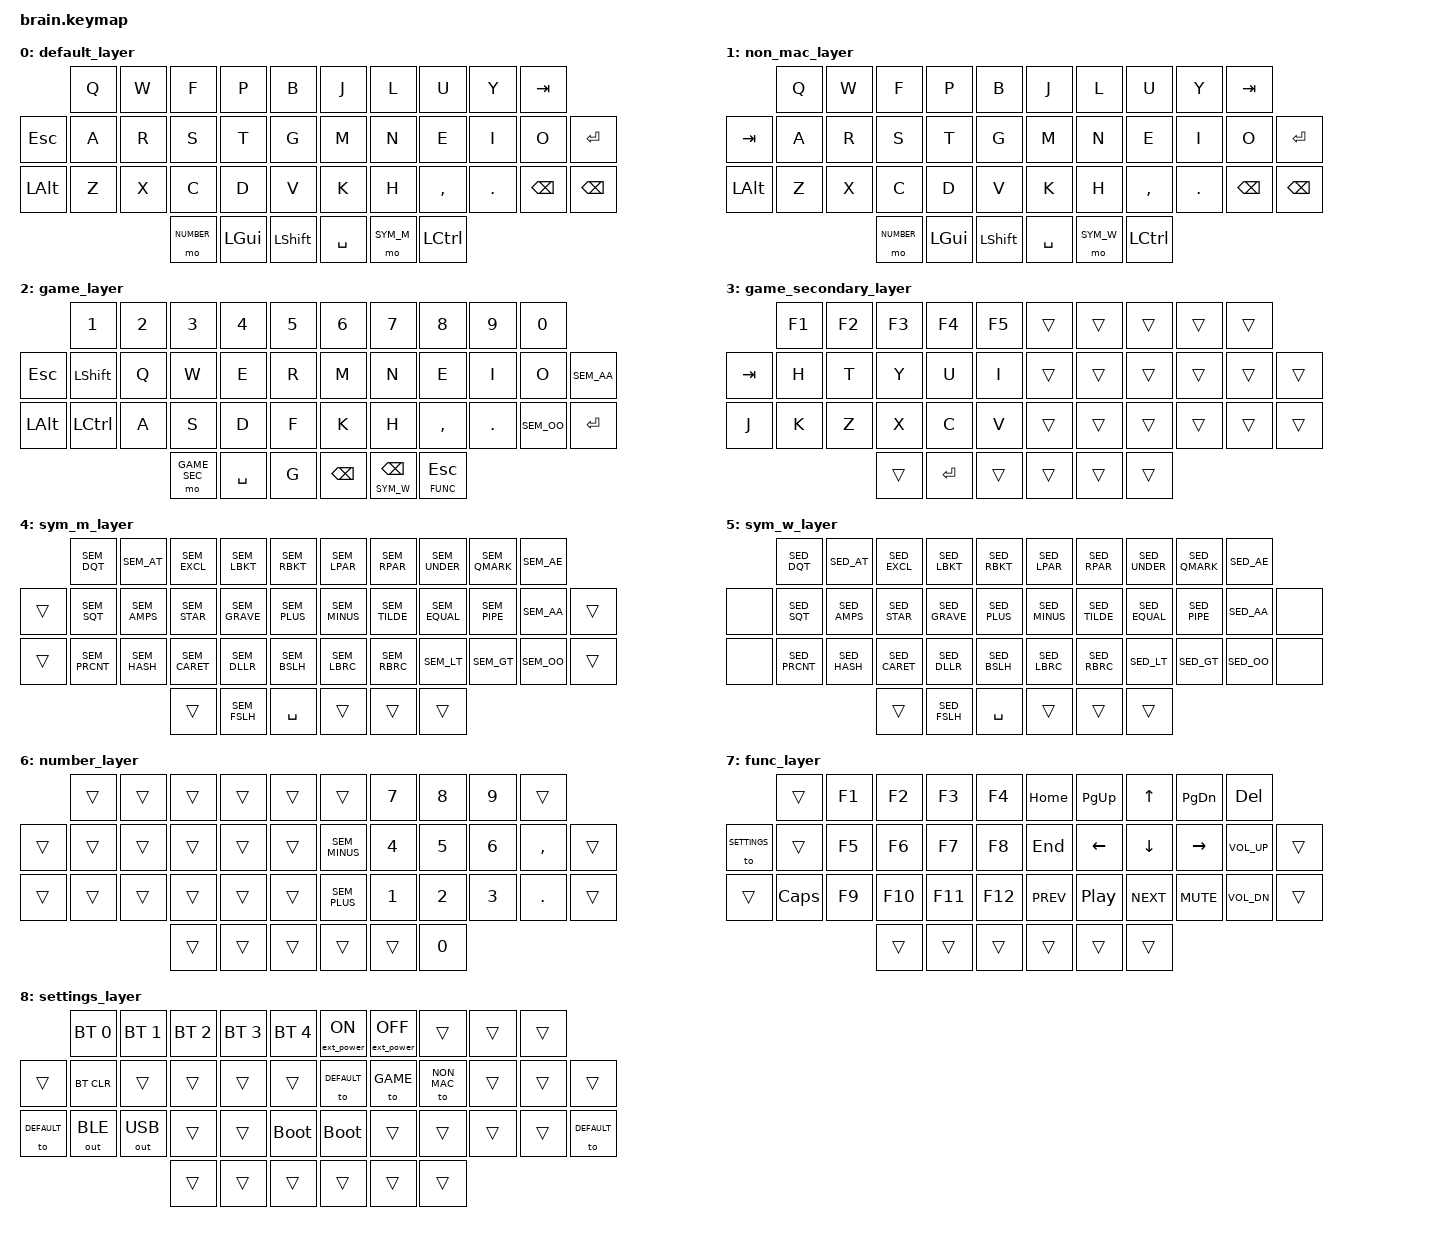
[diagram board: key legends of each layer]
/*
 * Copyright (c) 2020 The ZMK Contributors
 *
 * SPDX-License-Identifier: MIT
 */

#include <behaviors.dtsi>
#include <dt-bindings/zmk/keys.h>
#include <dt-bindings/zmk/bt.h>
#include <dt-bindings/zmk/outputs.h>
#include <dt-bindings/zmk/ext_power.h>
#include "swe_keys_default.h"
#include "swe_keys_mac.h"

#define DEFAULT       0
#define NON_MAC       1
#define GAME          2
#define GAME_SEC      3
#define SYM_M         4
#define SYM_W         5
#define NUMBER        6
#define FUNC          7
#define SETTINGS      8


/*           40 Keys
╭─────────────────╮ ╭─────────────────╮
│    0  1  2  3  4│ │ 5  6  7  8  9   │
│10 11 12 13 14 15│ │16 17 18 19 20 21│
│22 23 24 25 26 27│ │28 29 30 31 32 33│
╰────────╮34 35 36│ │37 38 39╭────────╯
         ╰────────╯ ╰────────╯       */

/ {
    cond_layers {
        compatible = "zmk,conditional-layers";
        func_tristate_mac {
            if-layers = <SYM_M NUMBER>;
            then-layer = <FUNC>;
        };
        func_tristate {
            if-layers = <SYM_W NUMBER>;
            then-layer = <FUNC>;
        };
    };


    keymap {
        compatible = "zmk,keymap";

        default_layer {
            bindings = <
   //                  ╭────────────────┬────────────────┬────────────────┬────────────────┬────────────────╮   ╭────────────────┬────────────────┬────────────────┬────────────────┬────────────────╮
                        &kp Q            &kp W            &kp F            &kp P            &kp B                &kp J            &kp L            &kp U            &kp Y            &kp TAB
   // ╭────────────────┼────────────────┼────────────────┼────────────────┼────────────────┼────────────────┤   ├────────────────┼────────────────┼────────────────┼────────────────┼────────────────┼────────────────╮
       &kp ESC          &kp A            &kp R            &kp S            &kp T            &kp G                &kp M            &kp N            &kp E            &kp I            &kp O            &kp ENTER
   // ├────────────────┼────────────────┼────────────────┼────────────────┼────────────────┼────────────────┤   ├────────────────┼────────────────┼────────────────┼────────────────┼────────────────┼────────────────┤
       &kp LALT         &kp Z            &kp X            &kp C            &kp D            &kp V                &kp K            &kp H            &kp COMMA        &kp DOT          &kp BSPC         &kp BSPC
   // ╰────────────────┼────────────────┼────────────────┼────────────────┼────────────────┼────────────────┤   ├────────────────┼────────────────┼────────────────┼────────────────┼────────────────┼────────────────╯
                                                          &mo NUMBER       &kp LGUI         &kp LSHIFT           &kp SPACE        &mo SYM_M        &kp LCTRL
   //                                                    ╰────────────────┴────────────────┴────────────────╯   ╰────────────────┴────────────────┴────────────────╯
            >;
        };

        non_mac_layer {
            bindings = <
   //                  ╭────────────────┬────────────────┬────────────────┬────────────────┬────────────────╮   ╭────────────────┬────────────────┬────────────────┬────────────────┬────────────────╮
                        &kp Q            &kp W            &kp F            &kp P            &kp B                &kp J            &kp L            &kp U            &kp Y            &kp TAB
   // ╭────────────────┼────────────────┼────────────────┼────────────────┼────────────────┼────────────────┤   ├────────────────┼────────────────┼────────────────┼────────────────┼────────────────┼────────────────╮
       &kp TAB          &kp A            &kp R            &kp S            &kp T            &kp G                &kp M            &kp N            &kp E            &kp I            &kp O            &kp ENTER
   // ├────────────────┼────────────────┼────────────────┼────────────────┼────────────────┼────────────────┤   ├────────────────┼────────────────┼────────────────┼────────────────┼────────────────┼────────────────┤
       &kp LALT         &kp Z            &kp X            &kp C            &kp D            &kp V                &kp K            &kp H            &kp COMMA        &kp DOT          &kp BSPC         &kp BSPC
   // ╰────────────────┼────────────────┼────────────────┼────────────────┼────────────────┼────────────────┤   ├────────────────┼────────────────┼────────────────┼────────────────┼────────────────┼────────────────╯
                                                          &mo NUMBER       &kp LGUI         &kp LSHIFT           &kp SPACE        &mo SYM_W        &kp LCTRL
   //                                                    ╰────────────────┴────────────────┴────────────────╯   ╰────────────────┴────────────────┴────────────────╯
            >;
        };

        game_layer {
            bindings = <
   //                  ╭────────────────┬────────────────┬────────────────┬────────────────┬────────────────╮   ╭────────────────┬────────────────┬────────────────┬────────────────┬────────────────╮
                        &kp N1           &kp N2           &kp N3           &kp N4           &kp N5               &kp N6           &kp N7           &kp N8           &kp N9           &kp N0
   // ╭────────────────┼────────────────┼────────────────┼────────────────┼────────────────┼────────────────┤   ├────────────────┼────────────────┼────────────────┼────────────────┼────────────────┼────────────────╮
       &kp ESC          &kp LSHIFT       &kp Q            &kp W            &kp E            &kp R                &kp M            &kp N            &kp E            &kp I            &kp O            &kp SEM_AA
   // ├────────────────┼────────────────┼────────────────┼────────────────┼────────────────┼────────────────┤   ├────────────────┼────────────────┼────────────────┼────────────────┼────────────────┼────────────────┤
       &kp LALT         &kp LCTRL        &kp A            &kp S            &kp D            &kp F                &kp K            &kp H            &kp COMMA        &kp DOT          &kp SEM_OO       &kp ENTER
   // ╰────────────────┼────────────────┼────────────────┼────────────────┼────────────────┼────────────────┤   ├────────────────┼────────────────┼────────────────┼────────────────┼────────────────┼────────────────╯
                                                          &mo GAME_SEC     &kp SPACE        &kp G                &kp BSPC         &lt SYM_W BSPC   &lt FUNC ESC
   //                                                    ╰────────────────┴────────────────┴────────────────╯   ╰────────────────┴────────────────┴────────────────╯
            >;
        };

        game_secondary_layer {
            bindings = <
   //                  ╭────────────────┬────────────────┬────────────────┬────────────────┬────────────────╮   ╭────────────────┬────────────────┬────────────────┬────────────────┬────────────────╮
                        &kp F1           &kp F2           &kp F3           &kp F4           &kp F5               &trans           &trans           &trans           &trans           &trans
   // ╭────────────────┼────────────────┼────────────────┼────────────────┼────────────────┼────────────────┤   ├────────────────┼────────────────┼────────────────┼────────────────┼────────────────┼────────────────╮
       &kp TAB          &kp H            &kp T            &kp Y            &kp U            &kp I                &trans           &trans           &trans           &trans           &trans           &trans
   // ├────────────────┼────────────────┼────────────────┼────────────────┼────────────────┼────────────────┤   ├────────────────┼────────────────┼────────────────┼────────────────┼────────────────┼────────────────┤
       &kp J            &kp K            &kp Z            &kp X            &kp C            &kp V                &trans           &trans           &trans           &trans           &trans           &trans
   // ╰────────────────┼────────────────┼────────────────┼────────────────┼────────────────┼────────────────┤   ├────────────────┼────────────────┼────────────────┼────────────────┼────────────────┼────────────────╯
                                                          &trans           &kp ENTER        &trans               &trans           &trans           &trans
   //                                                    ╰────────────────┴────────────────┴────────────────╯   ╰────────────────┴────────────────┴────────────────╯
            >;
        };

        sym_m_layer {
            bindings = <
   //                  ╭────────────────┬────────────────┬────────────────┬────────────────┬────────────────╮   ╭────────────────┬────────────────┬────────────────┬────────────────┬────────────────╮
                        &kp SEM_DQT      &kp SEM_AT       &kp SEM_EXCL     &kp SEM_LBKT     &kp SEM_RBKT         &kp SEM_LPAR     &kp SEM_RPAR     &kp SEM_UNDER    &kp SEM_QMARK    &kp SEM_AE
   // ╭────────────────┼────────────────┼────────────────┼────────────────┼────────────────┼────────────────┤   ├────────────────┼────────────────┼────────────────┼────────────────┼────────────────┼────────────────╮
       &trans           &kp SEM_SQT      &kp SEM_AMPS     &kp SEM_STAR     &kp SEM_GRAVE    &kp SEM_PLUS         &kp SEM_MINUS    &kp SEM_TILDE    &kp SEM_EQUAL    &kp SEM_PIPE     &kp SEM_AA       &trans
   // ├────────────────┼────────────────┼────────────────┼────────────────┼────────────────┼────────────────┤   ├────────────────┼────────────────┼────────────────┼────────────────┼────────────────┼────────────────┤
       &trans           &kp SEM_PRCNT    &kp SEM_HASH     &kp SEM_CARET    &kp SEM_DLLR     &kp SEM_BSLH         &kp SEM_LBRC     &kp SEM_RBRC     &kp SEM_LT       &kp SEM_GT       &kp SEM_OO       &trans
   // ╰────────────────┼────────────────┼────────────────┼────────────────┼────────────────┼────────────────┤   ├────────────────┼────────────────┼────────────────┼────────────────┼────────────────┼────────────────╯
                                                          &trans           &kp SEM_FSLH     &kp SPACE            &trans           &trans           &trans
   //                                                    ╰────────────────┴────────────────┴────────────────╯   ╰────────────────┴────────────────┴────────────────╯
            >;
        };

        sym_w_layer {
            bindings = <
   //                  ╭────────────────┬────────────────┬────────────────┬────────────────┬────────────────╮   ╭────────────────┬────────────────┬────────────────┬────────────────┬────────────────╮
                        &kp SED_DQT      &kp SED_AT       &kp SED_EXCL     &kp SED_LBKT     &kp SED_RBKT         &kp SED_LPAR     &kp SED_RPAR     &kp SED_UNDER    &kp SED_QMARK    &kp SED_AE
   // ╭────────────────┼────────────────┼────────────────┼────────────────┼────────────────┼────────────────┤   ├────────────────┼────────────────┼────────────────┼────────────────┼────────────────┼────────────────╮
       &none            &kp SED_SQT      &kp SED_AMPS     &kp SED_STAR     &kp SED_GRAVE    &kp SED_PLUS         &kp SED_MINUS    &kp SED_TILDE    &kp SED_EQUAL    &kp SED_PIPE     &kp SED_AA       &none
   // ├────────────────┼────────────────┼────────────────┼────────────────┼────────────────┼────────────────┤   ├────────────────┼────────────────┼────────────────┼────────────────┼────────────────┼────────────────┤
       &none            &kp SED_PRCNT    &kp SED_HASH     &kp SED_CARET    &kp SED_DLLR     &kp SED_BSLH         &kp SED_LBRC     &kp SED_RBRC     &kp SED_LT       &kp SED_GT       &kp SED_OO       &none
   // ╰────────────────┼────────────────┼────────────────┼────────────────┼────────────────┼────────────────┤   ├────────────────┼────────────────┼────────────────┼────────────────┼────────────────┼────────────────╯
                                                          &trans           &kp SED_FSLH     &kp SPACE            &trans           &trans           &trans
   //                                                    ╰────────────────┴────────────────┴────────────────╯   ╰────────────────┴────────────────┴────────────────╯
            >;
        };

        number_layer {
            bindings = <
   //                  ╭────────────────┬────────────────┬────────────────┬────────────────┬────────────────╮   ╭────────────────┬────────────────┬────────────────┬────────────────┬────────────────╮
                        &trans           &trans           &trans           &trans           &trans               &trans           &kp N7           &kp N8           &kp N9           &trans
   // ╭────────────────┼────────────────┼────────────────┼────────────────┼────────────────┼────────────────┤   ├────────────────┼────────────────┼────────────────┼────────────────┼────────────────┼────────────────╮
       &trans           &trans           &trans           &trans           &trans           &trans               &kp SEM_MINUS    &kp N4           &kp N5           &kp N6           &kp COMMA        &trans
   // ├────────────────┼────────────────┼────────────────┼────────────────┼────────────────┼────────────────┤   ├────────────────┼────────────────┼────────────────┼────────────────┼────────────────┼────────────────┤
       &trans           &trans           &trans           &trans           &trans           &trans               &kp SEM_PLUS     &kp N1           &kp N2           &kp N3           &kp DOT          &trans
   // ╰────────────────┼────────────────┼────────────────┼────────────────┼────────────────┼────────────────┤   ├────────────────┼────────────────┼────────────────┼────────────────┼────────────────┼────────────────╯
                                                          &trans           &trans           &trans               &trans           &trans           &kp N0
   //                                                    ╰────────────────┴────────────────┴────────────────╯   ╰────────────────┴────────────────┴────────────────╯
            >;
        };

        func_layer {
            bindings = <
   //                  ╭────────────────┬────────────────┬────────────────┬────────────────┬────────────────╮   ╭────────────────┬────────────────┬────────────────┬────────────────┬────────────────╮
                        &trans           &kp F1           &kp F2           &kp F3           &kp F4               &kp HOME         &kp PG_UP        &kp UP           &kp PG_DN        &kp DEL
   // ╭────────────────┼────────────────┼────────────────┼────────────────┼────────────────┼────────────────┤   ├────────────────┼────────────────┼────────────────┼────────────────┼────────────────┼────────────────╮
       &to SETTINGS     &trans           &kp F5           &kp F6           &kp F7           &kp F8               &kp END          &kp LEFT         &kp DOWN         &kp RIGHT        &kp C_VOL_UP     &trans
   // ├────────────────┼────────────────┼────────────────┼────────────────┼────────────────┼────────────────┤   ├────────────────┼────────────────┼────────────────┼────────────────┼────────────────┼────────────────┤
       &trans           &kp CAPS         &kp F9           &kp F10          &kp F11          &kp F12              &kp C_PREV       &kp C_PP         &kp C_NEXT       &kp C_MUTE       &kp C_VOL_DN     &trans
   // ╰────────────────┼────────────────┼────────────────┼────────────────┼────────────────┼────────────────┤   ├────────────────┼────────────────┼────────────────┼────────────────┼────────────────┼────────────────╯
                                                          &trans           &trans           &trans               &trans           &trans           &trans
   //                                                    ╰────────────────┴────────────────┴────────────────╯   ╰────────────────┴────────────────┴────────────────╯
            >;
        };

        settings_layer {
            bindings = <
   //                  ╭────────────────┬────────────────┬────────────────┬────────────────┬────────────────╮   ╭────────────────┬────────────────┬────────────────┬────────────────┬────────────────╮
                        &bt BT_SEL 0     &bt BT_SEL 1     &bt BT_SEL 2     &bt BT_SEL 3     &bt BT_SEL 4         &ext_power EP_ON &ext_power EP_OFF   &trans          &trans           &trans
   // ╭────────────────┼────────────────┼────────────────┼────────────────┼────────────────┼────────────────┤   ├────────────────┼────────────────┼────────────────┼────────────────┼────────────────┼────────────────╮
       &trans           &bt BT_CLR       &trans           &trans           &trans           &trans               &to DEFAULT      &to GAME         &to NON_MAC      &trans           &trans           &trans
   // ├────────────────┼────────────────┼────────────────┼────────────────┼────────────────┼────────────────┤   ├────────────────┼────────────────┼────────────────┼────────────────┼────────────────┼────────────────┤
       &to DEFAULT      &out OUT_BLE     &out OUT_USB     &trans           &trans           &bootloader          &bootloader      &trans           &trans           &trans           &trans           &to DEFAULT
   // ╰────────────────┼────────────────┼────────────────┼────────────────┼────────────────┼────────────────┤   ├────────────────┼────────────────┼────────────────┼────────────────┼────────────────┼────────────────╯
                                                          &trans           &trans           &trans               &trans           &trans           &trans
   //                                                    ╰────────────────┴────────────────┴────────────────╯   ╰────────────────┴────────────────┴────────────────╯
            >;
        };
    };
};

